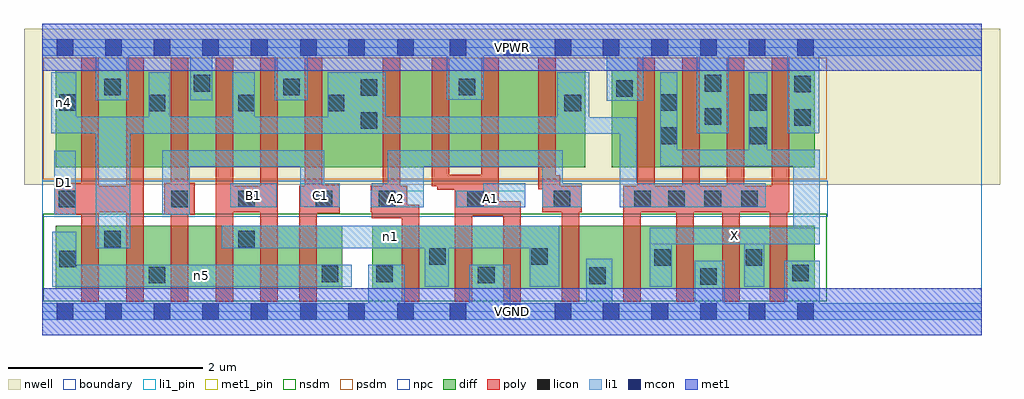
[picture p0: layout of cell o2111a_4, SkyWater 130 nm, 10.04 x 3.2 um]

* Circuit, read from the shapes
.subckt o2111a_4 A1 A2 B1 C1 D1 VGND VPWR X n1 n4 n5
XM1 n4 D1 n5 VSUBS sky130_fd_pr__nfet_01v8 w=0.65 l=0.18 m=2
XM2 n2 C1 n5 VSUBS sky130_fd_pr__nfet_01v8 w=0.65 l=0.18
XM3 n1 B1 n2 VSUBS sky130_fd_pr__nfet_01v8 w=0.65 l=0.18
XM4 n3 B1 n1 VSUBS sky130_fd_pr__nfet_01v8 w=0.65 l=0.18
XM5 n5 C1 n3 VSUBS sky130_fd_pr__nfet_01v8 w=0.65 l=0.18
XM6 n1 A2 VGND VSUBS sky130_fd_pr__nfet_01v8 w=0.65 l=0.18 m=2
XM7 VGND A1 n1 VSUBS sky130_fd_pr__nfet_01v8 w=0.65 l=0.18 m=2
XM8 X n4 VGND VSUBS sky130_fd_pr__nfet_01v8 w=0.65 l=0.18 m=4
XM9 VPWR D1 n4 n6 sky130_fd_pr__pfet_01v8 w=1 l=0.18 m=2
XM10 VPWR C1 n4 n6 sky130_fd_pr__pfet_01v8 w=1 l=0.18 m=2
XM11 n4 B1 VPWR n6 sky130_fd_pr__pfet_01v8 w=1 l=0.18 m=2
XM12 n7 A2 n4 n6 sky130_fd_pr__pfet_01v8 w=1 l=0.18
XM13 VPWR A1 n7 n6 sky130_fd_pr__pfet_01v8 w=1 l=0.18
XM14 n8 A1 VPWR n6 sky130_fd_pr__pfet_01v8 w=1 l=0.18
XM15 n4 A2 n8 n6 sky130_fd_pr__pfet_01v8 w=1 l=0.18
XM16 X n4 VPWR n6 sky130_fd_pr__pfet_01v8 w=1 l=0.18 m=4
.ends

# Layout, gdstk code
import gdstk
lib = gdstk.Library(unit=1e-6, precision=1e-09)
def R(c, l, rs):  # rectangles x0, y0, x1, y1
    for r in rs: c.add(gdstk.rectangle(r[:2], r[2:], *l))
def A(c, l, x, y, w, h, nx, ny, dx, dy):  # array of equal rectangles
    R(c, l, [(x+i*dx, y+j*dy, x+i*dx+w, y+j*dy+h) for i in range(nx) for j in range(ny)])
nwell = (64, 20)
diff = (65, 20)
poly = (66, 20)
licon = (66, 44)
li1_pin = (67, 16)
li1 = (67, 20)
mcon = (67, 44)
met1_pin = (68, 16)
met1 = (68, 20)
nsdm = (93, 44)
psdm = (94, 20)
npc = (95, 20)
boundary = (235, 4)

o2111a_4 = lib.new_cell('o2111a_4')
R(o2111a_4, nwell, [(-0.19,1.305,9.85,2.91), (0,1.305,9.66,2.91)])
R(o2111a_4, diff, [(0.135,0.235,3.085,0.885), (3.39,0.235,7.945,0.885), (0.135,1.485,5.585,2.485), (5.855,1.485,7.945,2.485)])
A(o2111a_4, poly, 0.4, 0.105, 0.18, 2.51, 5, 1, 0.46, 0)
A(o2111a_4, poly, 6.12, 1.025, 0.18, 1.59, 4, 1, 0.46, 0)
R(o2111a_4, poly, [(2.64,0.105,2.82,1.295), (3.695,0.105,3.875,1.1), (4.24,0.105,4.42,1.41), (4.74,0.105,4.92,1.135), (5.34,0.105,5.52,1.295), (5.975,0.105,6.155,1.295), (6.52,0.105,6.7,1.295), (6.995,0.105,7.175,1.295), (7.48,0.105,7.66,1.295), (7.5,0.105,7.66,2.615), (3.385,0.96,3.875,1.1), (3.5,0.96,3.68,2.615), (4.24,0.985,4.695,1.41), (4.24,0.985,4.92,1.135), (4.515,0.985,4.695,2.615), (0.12,0.995,0.58,1.325), (1.255,0.995,1.565,1.325), (2.7,1.015,2.88,2.615), (2.7,1.015,3.06,1.305), (0.12,1.025,1.04,1.295), (1.78,1.025,2.42,1.295), (3.375,1.025,3.75,1.295), (5.14,1.025,5.545,1.295), (5.975,1.025,7.68,1.295), (4.06,1.255,4.695,1.41), (5.1,1.26,5.28,2.615), (5.1,1.26,5.325,1.405), (4.005,1.29,4.185,2.615)])
A(o2111a_4, licon, 1.095, 2.06, 0.17, 0.17, 3, 1, 0.92, 0)
R(o2111a_4, licon, [(6.765,0.275,6.935,0.445), (5.625,0.285,5.795,0.455), (1.095,0.295,1.265,0.465), (4.48,0.295,4.65,0.465), (2.875,0.305,3.045,0.475), (3.435,0.305,3.605,0.475), (7.715,0.315,7.885,0.485), (0.175,0.455,0.345,0.625), (6.295,0.475,6.465,0.645), (7.235,0.475,7.405,0.645), (3.98,0.485,4.15,0.655), (5.03,0.485,5.2,0.655), (0.635,0.665,0.805,0.835), (2.015,0.665,2.185,0.835), (0.17,1.075,0.34,1.245), (1.325,1.075,1.495,1.245), (2.015,1.075,2.185,1.245), (2.81,1.075,2.98,1.245), (3.46,1.075,3.63,1.245), (4.37,1.075,4.54,1.245), (5.26,1.075,5.43,1.245), (6.085,1.075,6.255,1.245), (6.435,1.075,6.605,1.245), (6.81,1.075,6.98,1.245), (7.19,1.075,7.36,1.245), (6.355,1.725,6.525,1.895), (7.275,1.725,7.445,1.895), (3.275,1.88,3.445,2.05), (7.735,1.915,7.905,2.085), (6.815,1.925,6.985,2.095), (5.37,2.06,5.54,2.23), (0.175,2.065,0.345,2.235), (6.355,2.065,6.525,2.235), (7.275,2.065,7.445,2.235), (5.9,2.21,6.07,2.38), (3.275,2.22,3.445,2.39), (0.635,2.225,0.805,2.395), (2.475,2.225,2.645,2.395), (4.28,2.225,4.45,2.395), (7.735,2.255,7.905,2.425), (1.555,2.265,1.725,2.435), (6.815,2.265,6.985,2.435)])
R(o2111a_4, li1_pin, [(6.245,0.695,7.995,0.865), (0.12,0.995,0.34,1.655), (1.93,1.075,2.41,1.32), (3.375,1.075,3.92,1.245), (4.255,1.075,4.965,1.245), (2.65,1.08,3.06,1.32)])
R(o2111a_4, li1, [(0,-0.085,9.66,0.085), (3.35,-0.085,3.725,0.485), (4.39,-0.085,4.81,0.485), (5.595,-0.085,5.86,0.545), (6.71,-0.085,7.02,0.525), (7.63,-0.085,7.995,0.525), (0.1,0.255,3.18,0.485), (0.1,0.255,0.345,0.825), (3.93,0.255,4.18,0.885), (5.015,0.255,5.315,0.885), (6.245,0.255,6.475,0.865), (7.22,0.255,7.425,0.865), (0.55,0.655,0.905,2.005), (1.845,0.655,5.315,0.885), (6.245,0.695,7.995,0.865), (7.725,0.695,7.995,1.665), (0.12,0.995,0.34,1.655), (1.23,0.995,1.515,1.66), (1.93,1.075,2.41,1.32), (2.695,1.075,3.06,1.32), (3.375,1.075,3.92,1.245), (3.385,1.075,3.92,1.32), (3.55,1.075,3.92,1.66), (4.255,1.075,4.965,1.245), (4.535,1.075,4.965,1.32), (5.14,1.075,5.545,1.32), (5.14,1.075,5.35,1.66), (5.94,1.075,7.44,1.32), (5.94,1.075,6.115,2), (2.65,1.08,3.06,1.32), (2.65,1.08,2.9,1.66), (1.23,1.49,2.9,1.66), (3.55,1.49,5.35,1.66), (6.355,1.495,7.995,1.665), (6.355,1.495,6.53,2.465), (7.265,1.495,7.455,2.465), (0.55,1.83,6.115,2), (1.095,1.83,1.31,2.465), (1.95,1.83,2.185,2.465), (2.935,1.83,3.53,2.465), (5.295,1.83,5.625,2.465), (0.09,1.835,0.345,2.465), (0.09,1.835,5.625,2.005), (6.73,1.835,7.06,2.805), (7.66,1.835,7.99,2.805), (5.805,2.17,6.18,2.805), (0.55,2.175,0.89,2.805), (1.52,2.175,1.745,2.805), (2.39,2.175,2.73,2.805), (4.16,2.18,4.54,2.805), (0,2.635,9.66,2.805)])
A(o2111a_4, mcon, 0.145, -0.085, 0.17, 0.17, 5, 2, 0.5, 2.72)
A(o2111a_4, mcon, 5.765, -0.085, 0.17, 0.17, 5, 2, 0.5, 2.72)
R(o2111a_4, mcon, [(2.65,-0.085,2.82,0.085), (3.145,-0.085,3.315,0.085), (3.65,-0.085,3.82,0.085), (4.19,-0.085,4.36,0.085), (4.745,-0.085,4.915,0.085), (5.27,-0.085,5.44,0.085), (2.65,2.635,2.82,2.805), (3.145,2.635,3.315,2.805), (3.65,2.635,3.82,2.805), (4.19,2.635,4.36,2.805), (4.745,2.635,4.915,2.805), (5.27,2.635,5.44,2.805)])
R(o2111a_4, met1_pin, [(0,-0.24,9.66,0.24), (0,2.48,9.66,2.96)])
R(o2111a_4, met1, [(0,-0.24,9.66,0.24), (0,2.48,9.66,2.96)])
R(o2111a_4, nsdm, [(0.01,0.11,8.07,1.01)])
R(o2111a_4, psdm, [(0.01,1.36,8.07,2.61)])
R(o2111a_4, npc, [(0,0.975,8.08,1.345)])
R(o2111a_4, boundary, [(0,0,9.66,2.72)])
o2111a_4.add(gdstk.Label('A1', (4.61,1.16), layer=67, texttype=5))
o2111a_4.add(gdstk.Label('A2', (3.647,1.16), layer=67, texttype=5))
o2111a_4.add(gdstk.Label('B1', (2.17,1.197), layer=67, texttype=5))
o2111a_4.add(gdstk.Label('C1', (2.855,1.2), layer=67, texttype=5))
o2111a_4.add(gdstk.Label('D1', (0.23,1.325), layer=67, texttype=5))
o2111a_4.add(gdstk.Label('X', (7.12,0.78), layer=67, texttype=5))
o2111a_4.add(gdstk.Label('n5', (1.64,0.37), layer=67, texttype=5))
o2111a_4.add(gdstk.Label('n1', (3.58,0.77), layer=67, texttype=5))
o2111a_4.add(gdstk.Label('n4', (0.217,2.15), layer=67, texttype=5))
o2111a_4.add(gdstk.Label('VPWR', (4.83,2.72), layer=68, texttype=5))
o2111a_4.add(gdstk.Label('VGND', (4.83,0), layer=68, texttype=5))
o2111a_4.add(gdstk.Label('A1', (4.61,1.16), layer=67, texttype=16))
o2111a_4.add(gdstk.Label('A2', (3.647,1.16), layer=67, texttype=16))
o2111a_4.add(gdstk.Label('B1', (2.17,1.197), layer=67, texttype=16))
o2111a_4.add(gdstk.Label('C1', (2.855,1.2), layer=67, texttype=16))
o2111a_4.add(gdstk.Label('D1', (0.23,1.325), layer=67, texttype=16))
o2111a_4.add(gdstk.Label('X', (7.12,0.78), layer=67, texttype=16))
o2111a_4.add(gdstk.Label('VPWR', (4.83,2.72), layer=68, texttype=16))
o2111a_4.add(gdstk.Label('VGND', (4.83,0), layer=68, texttype=16))

lib.write_gds('o2111a_4.gds')
